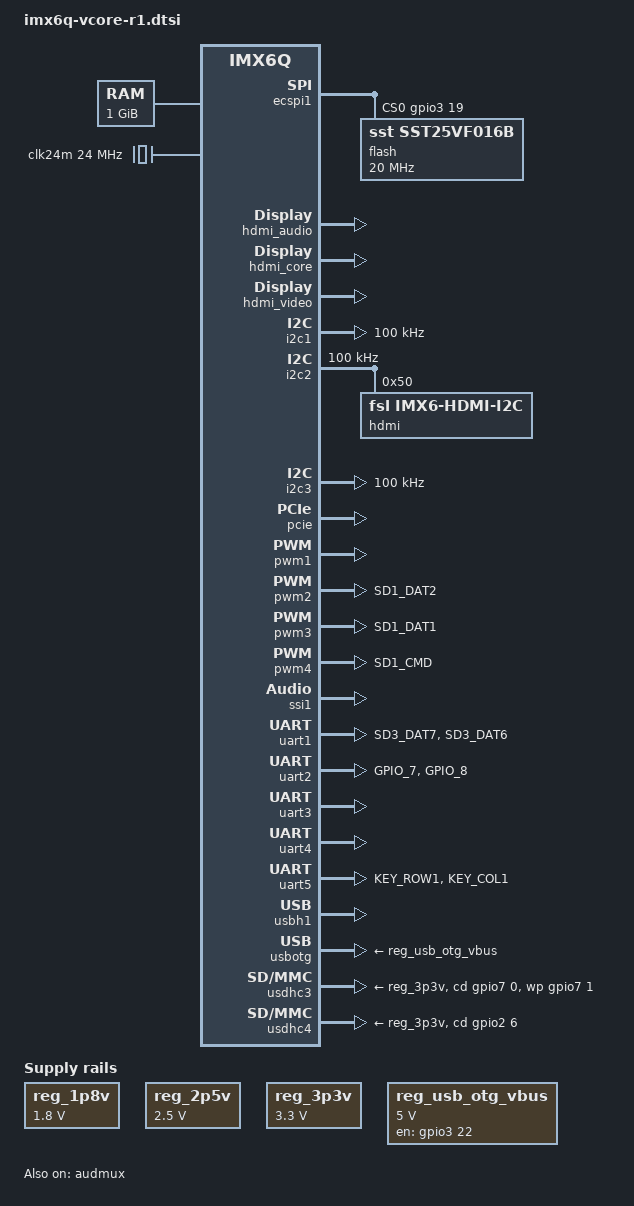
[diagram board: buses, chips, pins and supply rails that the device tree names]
/*
 * Copyright 2015 X-Media tech, Inc.
 * Copyright 2015 Boundary Devices, Inc.
 * Copyright 2012 Freescale Semiconductor, Inc.
 * Copyright 2011 Linaro Ltd.
 *
 * The code contained herein is licensed under the GNU General Public
 * License. You may obtain a copy of the GNU General Public License
 * Version 2 or later at the following locations:
 *
 * http://www.opensource.org/licenses/gpl-license.html
 * http://www.gnu.org/copyleft/gpl.html
 */
#include <dt-bindings/input/input.h>

/ {
  aliases {
              mxcfb0 = &hdmi_display;
              hdmi_display = &hdmi_display;
  };

  memory {
    reg = <0x10000000 0x40000000>;
  };

  clocks {
    clk24m: clk24m {
      compatible = "fixed-clock";
      #clock-cells = <0>;
      clock-frequency = <24000000>;
    };
  };

  regulators {
    compatible = "simple-bus";

    reg_1p8v: 1p8v {
      compatible = "regulator-fixed";
      regulator-name = "1P8V";
      regulator-min-microvolt = <1800000>;
      regulator-max-microvolt = <1800000>;
      regulator-always-on;
    };

    reg_2p5v: 2p5v {
      compatible = "regulator-fixed";
      regulator-name = "2P5V";
      regulator-min-microvolt = <2500000>;
      regulator-max-microvolt = <2500000>;
      regulator-always-on;
    };

    reg_3p3v: 3p3v {
      compatible = "regulator-fixed";
      regulator-name = "3P3V";
      regulator-min-microvolt = <3300000>;
      regulator-max-microvolt = <3300000>;
      regulator-always-on;
    };

    reg_usb_otg_vbus: usb_otg_vbus {
      compatible = "regulator-fixed";
      regulator-name = "usb_otg_vbus";
      regulator-min-microvolt = <5000000>;
      regulator-max-microvolt = <5000000>;
      gpio = <&gpio3 22 0>;
      enable-active-high;
    };
  };

  sound-hdmi {
    compatible = "fsl,imx6q-audio-hdmi",
           "fsl,imx-audio-hdmi";
    model = "imx-audio-hdmi";
    hdmi-controller = <&hdmi_audio>;
  };

  hdmi_display: fb@2 {
    compatible = "fsl,mxc_sdc_fb";
    disp_dev = "hdmi";
    interface_pix_fmt = "RGB24";
    mode_str ="1280x720M@60";
    default_bpp = <32>;
    int_clk = <0>;
    late_init = <0>;
    status = "disabled";
  };
};

&audmux {
  pinctrl-names = "default";
  pinctrl-0 = <&pinctrl_audmux_1>;
  status = "okay";
};

&ecspi1 {
  fsl,spi-num-chipselects = <1>;
  cs-gpios = <&gpio3 19 0>;
  pinctrl-names = "default";
  pinctrl-0 = <&pinctrl_ecspi1_1>;
  status = "okay";

  flash: m25p80@0 {
    compatible = "sst,sst25vf016b";
    spi-max-frequency = <20000000>;
    reg = <0>;
    #address-cells = <1>;
    #size-cells = <1>;
    mtd0@00000000 {
      label = "U-Boot";
      reg = <0x0 0xC0000>;
    };

    mtd@000C0000 {
      label = "env";
      reg = <0xC0000 0x2000>;
    };
    mtd@000C2000 {
      label = "splash";
      reg = <0xC2000 0x13e000>;
    };
  };
};

&hdmi_audio {
  status = "okay";
};

&hdmi_core {
  ipu_id = <1>;
  disp_id = <0>;
  status = "okay";
};

&hdmi_video {
  fsl,phy_reg_vlev = <0x0294>;
  fsl,phy_reg_cksymtx = <0x800d>;
  status = "okay";
};

&i2c1 {
  clock-frequency = <100000>;
  pinctrl-names = "default";
  pinctrl-0 = <&pinctrl_i2c1_2>;
  status = "okay";
};

&i2c2 {
  clock-frequency = <100000>;
  pinctrl-names = "default";
  pinctrl-0 = <&pinctrl_i2c2_2>;
  status = "okay";

  hdmi: edid@50 {
    compatible = "fsl,imx6-hdmi-i2c";
    reg = <0x50>;
  };
};

&i2c3 {
  clock-frequency = <100000>;
  pinctrl-names = "default";
  pinctrl-0 = <&pinctrl_i2c3_3>;
  status = "okay";
};

&iomuxc {
  pinctrl-names = "default";
  pinctrl-0 = <&pinctrl_hog_1>;

  imx6q-sabrelite {
    pinctrl_hog_1: hoggrp-1 {
      fsl,pins = <
        MX6QDL_PAD_EIM_D19__GPIO3_IO19    0x80000000  /* spi-nor CS */
        MX6QDL_PAD_EIM_D22__GPIO3_IO22    0x80000000  /* otg power en */
        MX6QDL_PAD_SD3_DAT5__GPIO7_IO00   0x80000000  /* USDHC3 CD */
        MX6QDL_PAD_SD3_DAT4__GPIO7_IO01   0x1f0b0     /* USDHC3 WP */
        MX6QDL_PAD_NANDF_D6__GPIO2_IO06   0x80000000  /* uSDHC4 CD */
        MX6QDL_PAD_NANDF_D7__GPIO2_IO07   0x80000000  /* Spare */
        MX6QDL_PAD_GPIO_0__CCM_CLKO1      0x000b0     /* SGTL5000 sys_mclk */
        MX6QDL_PAD_GPIO_2__GPIO1_IO02     0x80000000  /* CAN standby */
        MX6QDL_PAD_GPIO_4__GPIO1_IO04     0x80000000  /* CAN enable */
        MX6QDL_PAD_GPIO_9__GPIO1_IO09     0x80000000  /* I2C3 touch screen interrupt */
        MX6QDL_PAD_GPIO_17__GPIO7_IO12    0x0b0b0     /* USB Hub Reset */
      >;
    };
  };

  ipu1 {
    pinctrl_ipu1_4: ipu1grp-4 {
      fsl,pins = <
        MX6QDL_PAD_DI0_DISP_CLK__IPU1_DI0_DISP_CLK 0x10
        MX6QDL_PAD_DI0_PIN15__IPU1_DI0_PIN15       0x10
        MX6QDL_PAD_DI0_PIN2__IPU1_DI0_PIN02        0x10
        MX6QDL_PAD_DI0_PIN3__IPU1_DI0_PIN03        0x10
        MX6QDL_PAD_DISP0_DAT0__IPU1_DISP0_DATA00   0x10
        MX6QDL_PAD_DISP0_DAT1__IPU1_DISP0_DATA01   0x10
        MX6QDL_PAD_DISP0_DAT2__IPU1_DISP0_DATA02   0x10
        MX6QDL_PAD_DISP0_DAT3__IPU1_DISP0_DATA03   0x10
        MX6QDL_PAD_DISP0_DAT4__IPU1_DISP0_DATA04   0x10
        MX6QDL_PAD_DISP0_DAT5__IPU1_DISP0_DATA05   0x10
        MX6QDL_PAD_DISP0_DAT6__IPU1_DISP0_DATA06   0x10
        MX6QDL_PAD_DISP0_DAT7__IPU1_DISP0_DATA07   0x10
        MX6QDL_PAD_DISP0_DAT8__IPU1_DISP0_DATA08   0x10
        MX6QDL_PAD_DISP0_DAT9__IPU1_DISP0_DATA09   0x10
        MX6QDL_PAD_DISP0_DAT10__IPU1_DISP0_DATA10  0x10
        MX6QDL_PAD_DISP0_DAT11__IPU1_DISP0_DATA11  0x10
        MX6QDL_PAD_DISP0_DAT12__IPU1_DISP0_DATA12  0x10
        MX6QDL_PAD_DISP0_DAT13__IPU1_DISP0_DATA13  0x10
        MX6QDL_PAD_DISP0_DAT14__IPU1_DISP0_DATA14  0x10
        MX6QDL_PAD_DISP0_DAT15__IPU1_DISP0_DATA15  0x10
        MX6QDL_PAD_DISP0_DAT16__IPU1_DISP0_DATA16  0x10
        MX6QDL_PAD_DISP0_DAT17__IPU1_DISP0_DATA17  0x10
        MX6QDL_PAD_DISP0_DAT18__IPU1_DISP0_DATA18  0x10
        MX6QDL_PAD_DISP0_DAT19__IPU1_DISP0_DATA19  0x10
        MX6QDL_PAD_DISP0_DAT20__IPU1_DISP0_DATA20  0x10
        MX6QDL_PAD_DISP0_DAT21__IPU1_DISP0_DATA21  0x10
        MX6QDL_PAD_DISP0_DAT22__IPU1_DISP0_DATA22  0x10
        MX6QDL_PAD_DISP0_DAT23__IPU1_DISP0_DATA23  0x10
      >;
    };
  };

  pwm2 {
    pinctrl_pwm2_2: pwm2grp-2 {
      fsl,pins = <
        MX6QDL_PAD_SD1_DAT2__PWM2_OUT 0x1b0b1
      >;
    };
  };

  pwm3 {
    pinctrl_pwm3_2: pwm3grp-2 {
      fsl,pins = <
        MX6QDL_PAD_SD1_DAT1__PWM3_OUT 0x1b0b1
      >;
    };
  };

  pwm4 {
    pinctrl_pwm4_2: pwm4grp-2 {
      fsl,pins = <
        MX6QDL_PAD_SD1_CMD__PWM4_OUT 0x1b0b1
      >;
    };
  };

  uart1 {
    pinctrl_uart1_2: uart1grp-2 {
      fsl,pins = <
        MX6QDL_PAD_SD3_DAT7__UART1_TX_DATA 0x1b0b1
        MX6QDL_PAD_SD3_DAT6__UART1_RX_DATA 0x1b0b1
      >;
    };
  };

  uart2 {
    pinctrl_uart2_3: uart2grp-3 {
      fsl,pins = <
        MX6QDL_PAD_GPIO_7__UART2_TX_DATA 0x1b0b1
        MX6QDL_PAD_GPIO_8__UART2_RX_DATA 0x1b0b1
      >;
    };
  };

  uart5 {
    pinctrl_uart5_2: uart5grp-2 {
      fsl,pins = <
        MX6QDL_PAD_KEY_ROW1__UART5_TX_DATA 0x1b0b1
        MX6QDL_PAD_KEY_COL1__UART5_RX_DATA 0x1b0b1
      >;
    };
  };
};

&pcie {
  status = "okay";
};

&pwm1 {
  pinctrl-names = "default";
  pinctrl-0 = <&pinctrl_pwm1_1>;
  status = "okay";
};

&pwm2 {
  pinctrl-names = "default";
  pinctrl-0 = <&pinctrl_pwm2_2>;
  status = "okay";
};

&pwm3 {
  pinctrl-names = "default";
  pinctrl-0 = <&pinctrl_pwm3_2>;
  status = "okay";
};

&pwm4 {
  pinctrl-names = "default";
  pinctrl-0 = <&pinctrl_pwm4_2>;
  status = "okay";
};

&ssi1 {
  fsl,mode = "i2s-slave";
  status = "okay";
};

&uart1 {
  pinctrl-names = "default";
  pinctrl-0 = <&pinctrl_uart1_2>;
  status = "okay";
};

&uart2 {
  pinctrl-names = "default";
  pinctrl-0 = <&pinctrl_uart2_3>;
  status = "okay";
};

&uart3 {
  pinctrl-names = "default";
  pinctrl-0 = <&pinctrl_uart3_1>;
  status = "okay";
};

&uart4 {
  pinctrl-names = "default";
  pinctrl-0 = <&pinctrl_uart4_1>;
  status = "okay";
};

&uart5 {
  pinctrl-names = "default";
  pinctrl-0 = <&pinctrl_uart5_2>;
  status = "okay";
};

&usbh1 {
  status = "okay";
};

&usbotg {
  vbus-supply = <&reg_usb_otg_vbus>;
  pinctrl-names = "default";
  pinctrl-0 = <&pinctrl_usbotg_1>;
  disable-over-current;
  status = "okay";
};

&usdhc3 {
  pinctrl-names = "default";
  pinctrl-0 = <&pinctrl_usdhc3_2>;
  cd-gpios = <&gpio7 0 0>;
  wp-gpios = <&gpio7 1 0>;
  vmmc-supply = <&reg_3p3v>;
  status = "okay";
};

&usdhc4 {
  pinctrl-names = "default";
  pinctrl-0 = <&pinctrl_usdhc4_2>;
  cd-gpios = <&gpio2 6 0>;
  vmmc-supply = <&reg_3p3v>;
  status = "okay";
};
